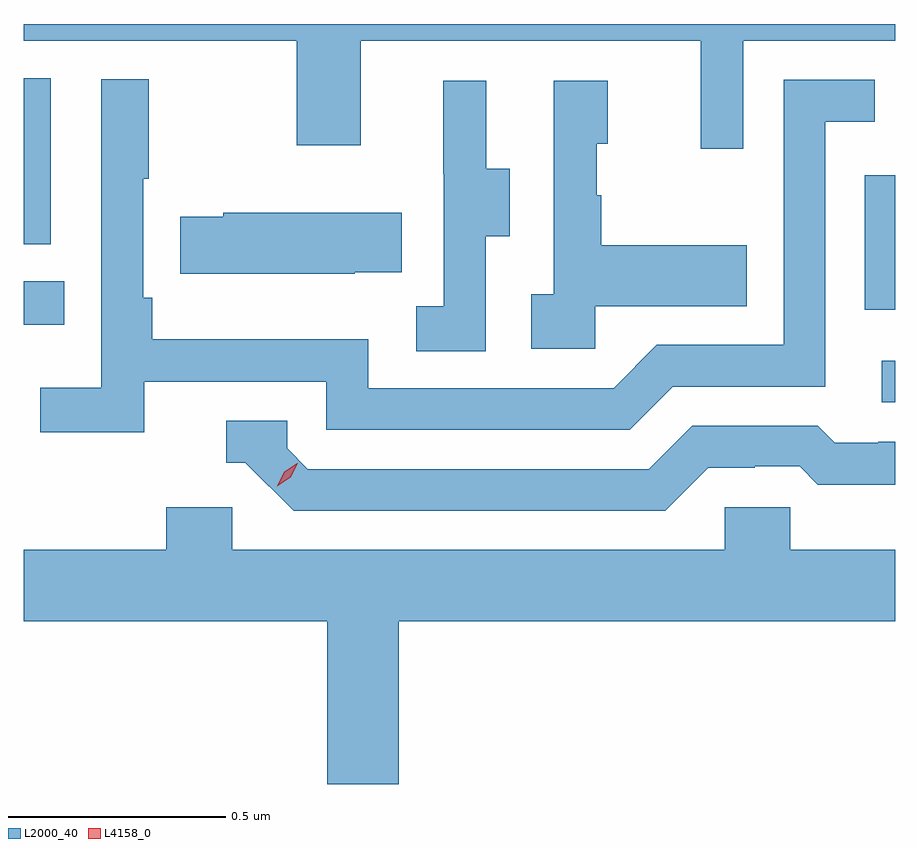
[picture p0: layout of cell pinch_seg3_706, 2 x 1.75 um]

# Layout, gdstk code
import gdstk
lib = gdstk.Library(unit=1e-6, precision=1e-09)
def R(c, l, rs):  # rectangles x0, y0, x1, y1
    for r in rs: c.add(gdstk.rectangle(r[:2], r[2:], *l))
def P(c, l, *ps):  # polygons
    for p in ps: c.add(gdstk.Polygon(p, *l))
L2000_40 = (2000, 40)
L4158_0 = (4158, 0)

pinch_seg3_706 = lib.new_cell('pinch_seg3_706')
R(pinch_seg3_706, L2000_40, [(1137.309,669.45,1137.34,669.546), (1135.34,669.629,1135.433,669.728), (1137.27,669.663,1137.34,669.972), (1135.34,669.813,1135.402,670.195)])
P(pinch_seg3_706, L2000_40, [(1136.991,670.28),(1137.34,670.28),(1137.34,670.319),(1135.34,670.319),(1135.34,670.28),(1135.966,670.28),(1135.966,670.041),(1136.113,670.041),(1136.113,670.28),(1136.894,670.28),(1136.894,670.032),(1136.991,670.032)],
  [(1135.616,669.498),(1136.034,669.498),(1136.034,669.387),(1136.731,669.387),(1136.83,669.486),(1137.18,669.486),(1137.18,670.095),(1137.293,670.095),(1137.293,670.191),(1137.084,670.191),(1137.084,669.582),(1136.793,669.582),(1136.694,669.483),(1136.13,669.483),(1136.13,669.595),(1135.634,669.595),(1135.634,669.691),(1135.614,669.691),(1135.614,669.964),(1135.627,669.964),(1135.627,670.192),(1135.518,670.192),(1135.518,669.484),(1135.377,669.484),(1135.377,669.382),(1135.616,669.382)],
  [(1136.652,669.671),(1136.999,669.671),(1136.999,669.811),(1136.665,669.811),(1136.665,669.926),(1136.655,669.926),(1136.655,670.044),(1136.68,670.044),(1136.68,670.189),(1136.556,670.189),(1136.556,669.698),(1136.505,669.698),(1136.505,669.573),(1136.652,669.573)],
  [(1136.4,669.832),(1136.455,669.832),(1136.455,669.987),(1136.401,669.987),(1136.401,670.189),(1136.303,670.189),(1136.303,669.975),(1136.304,669.975),(1136.304,669.671),(1136.241,669.671),(1136.241,669.568),(1136.4,669.568)],
  [(1136.099,669.749),(1136.207,669.749),(1136.207,669.886),(1135.797,669.886),(1135.797,669.876),(1135.699,669.876),(1135.699,669.746),(1136.099,669.746)],
  [(1136.911,669.3),(1137.018,669.3),(1137.018,669.303),(1137.121,669.303),(1137.163,669.261),(1137.34,669.261),(1137.34,669.36),(1137.301,669.36),(1137.301,669.357),(1137.202,669.357),(1137.163,669.396),(1136.874,669.396),(1136.775,669.297),(1135.992,669.297),(1135.944,669.345),(1135.944,669.408),(1135.805,669.408),(1135.805,669.312),(1135.848,669.312),(1135.959,669.201),(1136.812,669.201)],
  [(1136.2,668.948),(1137.34,668.948),(1137.34,669.112),(1137.099,669.112),(1137.099,669.21),(1136.949,669.21),(1136.949,669.112),(1135.818,669.112),(1135.818,669.21),(1135.667,669.21),(1135.667,669.112),(1135.34,669.112),(1135.34,668.948),(1136.036,668.948),(1136.036,668.574),(1136.2,668.574)])
P(pinch_seg3_706, L4158_0, [(1135.922,669.258),(1135.922,669.258),(1135.938,669.291),(1135.968,669.31),(1135.969,669.31),(1135.969,669.31),(1135.953,669.278),(1135.922,669.258)])

lib.write_gds('pinch_seg3_706.gds')
